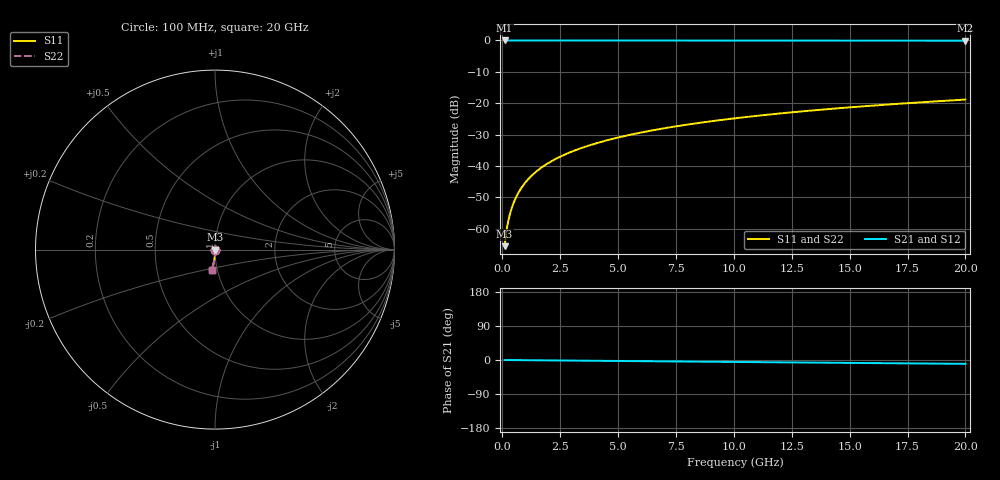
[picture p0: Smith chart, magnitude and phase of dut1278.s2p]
! Touchstone file exported from HFSS 2026.1.0
!  File:  C:/ffzhzh/LocalFiles/Ansys_Project_Files/temp_train_TSV_1278_1783194242_18472.aedt
!  Generated:  03:45:24 AM Jul  5, 2026
!  Design:  TSV
!  Project:  temp_train_TSV_1278_1783194242_18472
! Variables:
!  h_bsmrdl = 2um
!  h_ox = 20um
!  h_rdl = 5um
!  h_sub = 84.44um
!  h_tmrdl = 5um
!  h_tsv = 84.44um
!  h_via = 3um
!  l_bsmrdl = 300um
!  l_sub = 421.02um
!  l_tmrdl = 200um
!  m_sub = 200um
!  pitch = 25.09um
!  r_tsv = 10.51um
!  s_tmrdl = 10um
!  w_bsmrdl = 18um
!  w_sub = 500um
!  w_tmrdl = 12um
!  x_tsv_center1 = 206um
!  x_tsv_center2 = 524um
!  x_tsv_center3 = 736um
!  x_tsv_center4 = 1054um
!  x_tsv_center5 = 1266um
!  x_tsv_center6 = 1584um
# GHz S MA R 50.000000
! Terminal data exported
! Port[1] = TSV1_1_T1
! Port[2] = TSV1_1_T2
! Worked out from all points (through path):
!   200 points, 100 MHz to 20 GHz, reference 50 ohm
!   highest |S21| = 0.00 dB at 100 MHz (marker M1); lowest = -0.1 dB at 20 GHz (marker M2)
!   group delay of S21, straight-line fit = 1.41 ps
!   lowest |S11| = -65.6 dB at 100 MHz (marker M3), VSWR 1.00, Z = 50 - j0.0507 ohm
!   |S11| at or under -10 dB: start of sweep to end of sweep
!   |S22| runs from -65.6 to -18.8 dB; largest |S21 - S12| = 4.3e-15
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0.1  0.0005268 -74.2  0.9999 -0.1  0.9999 -0.1  0.0005268 -74.2
! Gamma 0 0 0 0
! Port Impedance 50 0 50 0
0.2  0.001034 -80.7  0.9998 -0.1  0.9998 -0.1  0.001034 -80.7
0.3  0.001559 -82.7  0.9998 -0.2  0.9998 -0.2  0.001559 -82.7
0.4  0.002098 -83.6  0.9998 -0.2  0.9998 -0.2  0.002098 -83.6
0.5  0.002648 -84.2  0.9997 -0.3  0.9997 -0.3  0.002648 -84.2
0.7  0.00377 -85.0  0.9996 -0.4  0.9996 -0.4  0.00377 -85.0
0.8  0.004338 -85.4  0.9996 -0.4  0.9996 -0.4  0.004338 -85.4
1  0.005478 -86.1  0.9996 -0.5  0.9996 -0.5  0.005478 -86.1
1.2  0.006622 -86.6  0.9995 -0.6  0.9995 -0.6  0.006622 -86.6
1.4  0.007765 -87.1  0.9995 -0.7  0.9995 -0.7  0.007765 -87.1
1.7  0.00948 -87.7  0.9994 -0.9  0.9994 -0.9  0.00948 -87.7
2  0.01119 -88.1  0.9994 -1.0  0.9994 -1.0  0.01119 -88.1
2.7  0.01519 -89.0  0.9992 -1.4  0.9992 -1.4  0.01519 -89.0
3.5  0.01977 -89.7  0.9991 -1.8  0.9991 -1.8  0.01977 -89.7
4.2  0.02379 -90.2  0.9989 -2.2  0.9989 -2.2  0.02379 -90.2
5  0.02839 -90.8  0.9987 -2.6  0.9987 -2.6  0.02839 -90.8
6.8  0.03876 -91.9  0.9982 -3.5  0.9982 -3.5  0.03876 -91.9
8.3  0.0474 -92.8  0.9977 -4.3  0.9977 -4.3  0.0474 -92.8
10.1  0.05777 -93.9  0.997 -5.2  0.997 -5.2  0.05777 -93.9
13.4  0.07672 -95.7  0.9956 -6.8  0.9956 -6.8  0.07672 -95.7
16.7  0.09557 -97.5  0.9937 -8.5  0.9937 -8.5  0.09557 -97.5
20  0.1143 -99.2  0.9916 -10.2  0.9916 -10.2  0.1143 -99.2
